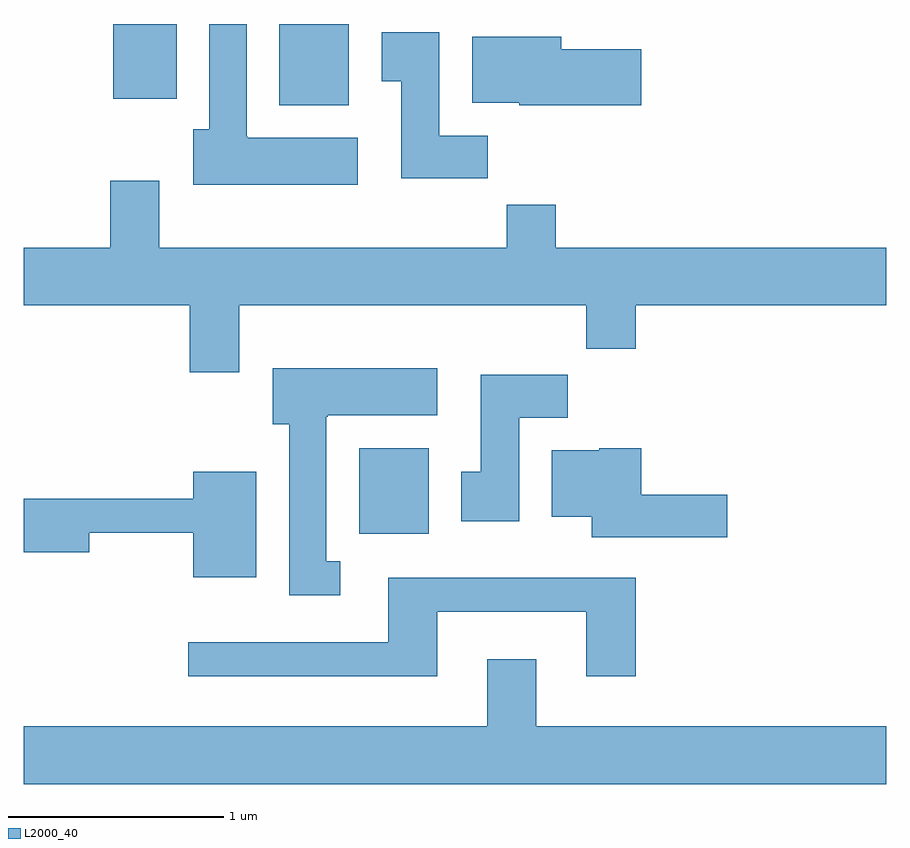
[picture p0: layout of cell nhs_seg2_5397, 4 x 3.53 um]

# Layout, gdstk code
import gdstk
lib = gdstk.Library(unit=1e-6, precision=1e-09)
def R(c, l, rs):  # rectangles x0, y0, x1, y1
    for r in rs: c.add(gdstk.rectangle(r[:2], r[2:], *l))
def P(c, l, *ps):  # polygons
    for p in ps: c.add(gdstk.Polygon(p, *l))
L2000_40 = (2000, 40)

nhs_seg2_5397 = lib.new_cell('nhs_seg2_5397')
R(nhs_seg2_5397, L2000_40, [(345.166,1089.436,345.489,1089.834), (344.796,1091.426,345.119,1091.802), (344.026,1091.456,344.319,1091.802)])
P(nhs_seg2_5397, L2000_40, [(345.159,1091.274),(344.65,1091.274),(344.65,1091.28),(344.644,1091.28),(344.644,1091.802),(344.471,1091.802),(344.471,1091.314),(344.396,1091.314),(344.396,1091.056),(345.159,1091.056)],
  [(345.764,1091.284),(345.539,1091.284),(345.539,1091.764),(345.271,1091.764),(345.271,1091.536),(345.361,1091.536),(345.361,1091.086),(345.764,1091.086)],
  [(346.474,1091.684),(346.104,1091.684),(346.104,1091.744),(345.691,1091.744),(345.691,1091.436),(345.91,1091.436),(345.91,1091.426),(346.474,1091.426)],
  [(344.609,1090.496),(346.221,1090.496),(346.221,1090.296),(346.449,1090.296),(346.449,1090.496),(347.611,1090.496),(347.611,1090.764),(346.079,1090.764),(346.079,1090.964),(345.851,1090.964),(345.851,1090.764),(344.239,1090.764),(344.239,1091.074),(344.011,1091.074),(344.011,1090.764),(343.611,1090.764),(343.611,1090.496),(344.381,1090.496),(344.381,1090.186),(344.609,1090.186)],
  [(345.078,1089.309),(345.014,1089.309),(345.014,1089.98),(345.02,1089.98),(345.02,1089.986),(345.529,1089.986),(345.529,1090.204),(344.766,1090.204),(344.766,1089.946),(344.841,1089.946),(344.841,1089.151),(345.078,1089.151)],
  [(345.909,1089.976),(346.134,1089.976),(346.134,1090.174),(345.731,1090.174),(345.731,1089.724),(345.641,1089.724),(345.641,1089.496),(345.909,1089.496)],
  [(346.874,1089.619),(346.474,1089.619),(346.474,1089.834),(346.28,1089.834),(346.28,1089.824),(346.061,1089.824),(346.061,1089.516),(346.246,1089.516),(346.246,1089.421),(346.874,1089.421)],
  [(344.689,1089.724),(344.396,1089.724),(344.396,1089.599),(343.611,1089.599),(343.611,1089.351),(343.914,1089.351),(343.914,1089.441),(344.396,1089.441),(344.396,1089.236),(344.689,1089.236)],
  [(345.529,1089.076),(346.221,1089.076),(346.221,1088.776),(346.449,1088.776),(346.449,1089.234),(345.301,1089.234),(345.301,1088.934),(344.373,1088.934),(344.373,1088.776),(345.529,1088.776)],
  [(347.611,1088.544),(345.989,1088.544),(345.989,1088.854),(345.761,1088.854),(345.761,1088.544),(343.611,1088.544),(343.611,1088.276),(347.611,1088.276)])

lib.write_gds('nhs_seg2_5397.gds')
